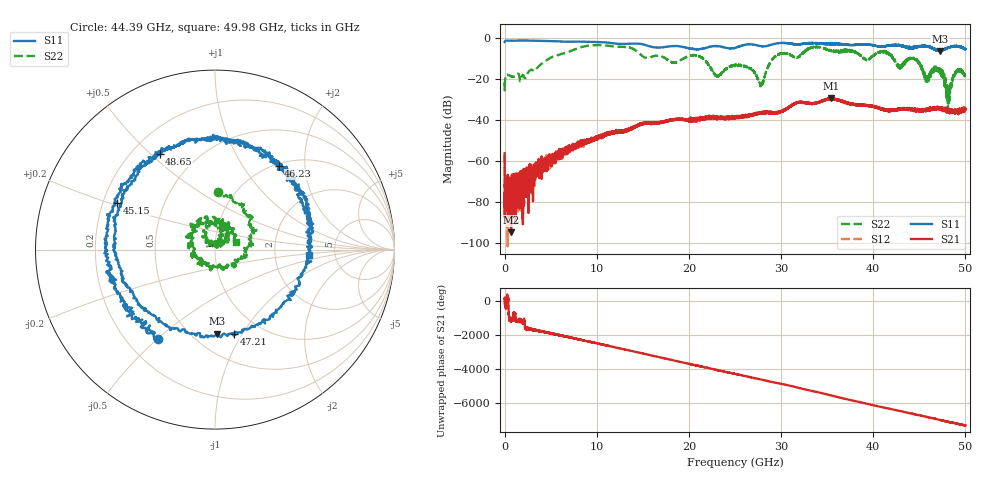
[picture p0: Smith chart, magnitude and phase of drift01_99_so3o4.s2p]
!Created with skrf (http://scikit-rf.org).
# Hz S RI R 50.0
!freq ReS11 ImS11 ReS21 ImS21 ReS12 ImS12 ReS22 ImS22
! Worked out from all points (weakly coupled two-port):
!   10001 points, 300 kHz to 50 GHz, reference 50 ohm
!   highest |S21| = -29.49 dB at 35.44 GHz (marker M1); lowest = -94.8 dB at 700.3 MHz (marker M2)
!   lowest |S11| = -6.6 dB at 47.28 GHz (marker M3), VSWR 2.77, Z = 32.7 - j39.3 ohm
!   |S11| at or under -10 dB: nowhere
!   |S22| runs from -36.2 to -3.6 dB; largest |S21 - S12| = 0.0042
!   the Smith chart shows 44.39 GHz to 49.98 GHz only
!   S11 on the Smith chart (normalised r, x): 44.39 GHz: 0.33, -0.50; 45.15 GHz: 0.26, +0.21; 46.23 GHz: 1.03, +1.47; 47.21 GHz: 0.75, -0.92; 48.65 GHz: 0.31, +0.54; 49.98 GHz: 3.19, -0.29
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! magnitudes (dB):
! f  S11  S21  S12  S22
! 300 kHz  -2.1  -56.2  -56.8  -21.7
! 255.3 MHz  -1.4  -74.0  -78.9  -18.0
! 700.3 MHz  -1.5  -94.8  -68.5  -18.8
! 8.335 GHz  -1.9  -51.4  -50.9  -4.6
! 16.67 GHz  -4.8  -41.5  -41.7  -8.7
! 20.96 GHz  -5.6  -40.0  -39.1  -8.7
! 23.08 GHz  -4.1  -38.6  -38.7  -18.7
! 25 GHz  -5.0  -39.2  -38.5  -13.7
! 27.84 GHz  -4.1  -36.5  -36.5  -23.0
! 29.47 GHz  -2.8  -36.5  -36.8  -8.8
! 33.34 GHz  -2.6  -31.9  -31.9  -4.8
! 35.44 GHz  -3.0  -29.5  -29.8  -6.3
! 41.67 GHz  -3.9  -35.5  -35.1  -7.7
! 44.39 GHz  -4.6  -34.9  -35.1  -9.8
! 45.15 GHz  -4.3  -35.2  -35.3  -13.9
! 46.23 GHz  -4.6  -34.6  -35.0  -18.5
! 47.21 GHz  -6.4  -34.1  -34.5  -16.7
! 47.28 GHz  -6.6  -35.2  -34.3  -15.9
! 48.13 GHz  -4.9  -35.8  -34.7  -31.0
! 48.65 GHz  -4.2  -36.0  -35.8  -20.4
! 49.98 GHz  -5.6  -34.4  -35.0  -18.1
! 50 GHz  -5.6  -34.8  -34.5  -18.3
